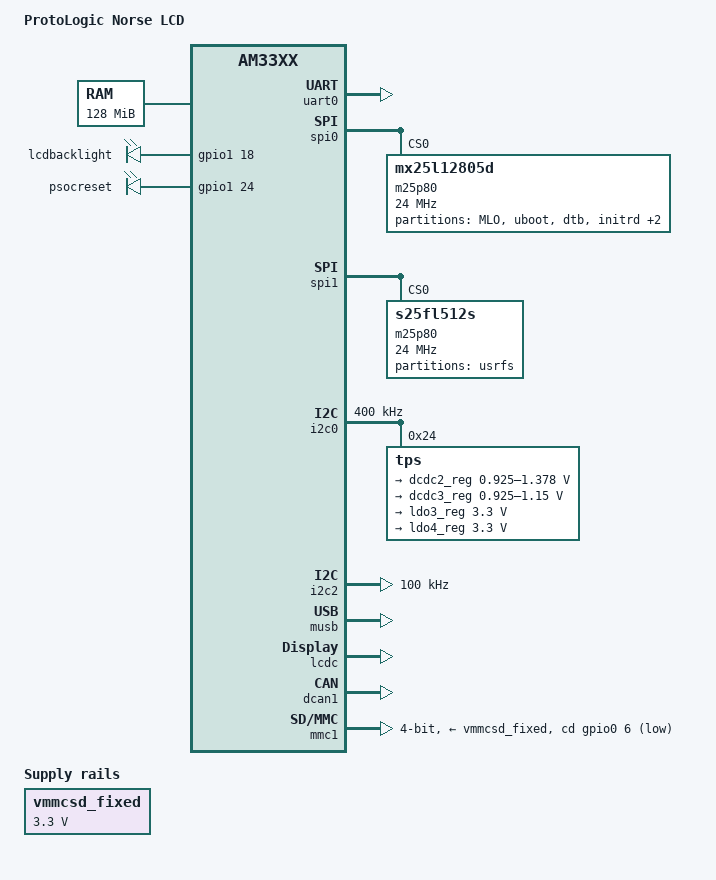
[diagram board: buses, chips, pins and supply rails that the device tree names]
/*
 * Bonelogic R1
 *
 *
 *     Big fAt reminders: 
 *			1. Use tables in AM335 datasheet, ~pg 30 to determine GPIO modes
 *			2. goofy hex numbers in pinctrl-single blocks are register offsets.  See: https://github.com/jadonk/bonescript/blob/64732854d4c296de8792d5d4c49639ae5f5ecede/src/bone.js
 *			3. Duplicate labels errors are triggered when the the node address (@XXXXX) matches an entry in the .dtsi but isn't otherwise identical.  Even the *case* of the hex characters to define the address matters here (!?)
 *			4. GPIO mapping hell?  RTFM!  (Documentation\devicetree\bindings\gpio\gpio-omap.txt)
 * 			5. Arghhhhh... "THEY" said linux GPIOs are different than pin GPIOs.  BUT they're not, at least not in SDK7.  The ti,hwmods deal in the dtsi fixes this.
 *			
 */

/dts-v1/;

#include "am33xx.dtsi"
#include <dt-bindings/pwm/pwm.h>

/ {
	model = "ProtoLogic Norse LCD";
	compatible = "ti,am335x-bonelogic", "ti,am33xx";


        cpus {
                cpu@0 {
                        cpu0-supply = <&dcdc2_reg>;
                };
        };

	memory {
		device_type = "memory";
		reg = <0x80000000 0x08000000>; /* 128 MB */
	};

	am33xx_pinmux: pinmux@44e10800 
	{
		pinctrl-names = "default";
		pinctrl-0 = <&clkout2_pin &clkout1_pin>;

		lcd_pins_default: lcd_pins_default {
			pinctrl-single,pins = <
				0x20 0x01	/* gpmc_ad8.lcd_data16, OUTPUT | MODE1 */
				0x24 0x01	/* gpmc_ad9.lcd_data17, OUTPUT | MODE1 */
				0x28 0x01	/* gpmc_ad10.lcd_data18, OUTPUT | MODE1 */
				0x2c 0x01	/* gpmc_ad11.lcd_data19, OUTPUT | MODE1 */
				0x30 0x01	/* gpmc_ad12.lcd_data20, OUTPUT | MODE1 */
				0x34 0x01	/* gpmc_ad13.lcd_data21, OUTPUT | MODE1 */
				0x38 0x01	/* gpmc_ad14.lcd_data22, OUTPUT | MODE1 */
				0x3c 0x01	/* gpmc_ad15.lcd_data23, OUTPUT | MODE1 */
				0xa0 0x00	/* lcd_data0.lcd_data0, OUTPUT | MODE0 */
				0xa4 0x00	/* lcd_data1.lcd_data1, OUTPUT | MODE0 */
				0xa8 0x00	/* lcd_data2.lcd_data2, OUTPUT | MODE0 */
				0xac 0x00	/* lcd_data3.lcd_data3, OUTPUT | MODE0 */
				0xb0 0x00	/* lcd_data4.lcd_data4, OUTPUT | MODE0 */
				0xb4 0x00	/* lcd_data5.lcd_data5, OUTPUT | MODE0 */
				0xb8 0x00	/* lcd_data6.lcd_data6, OUTPUT | MODE0 */
				0xbc 0x00	/* lcd_data7.lcd_data7, OUTPUT | MODE0 */
				0xc0 0x00	/* lcd_data8.lcd_data8, OUTPUT | MODE0 */
				0xc4 0x00	/* lcd_data9.lcd_data9, OUTPUT | MODE0 */
				0xc8 0x00	/* lcd_data10.lcd_data10, OUTPUT | MODE0 */
				0xcc 0x00	/* lcd_data11.lcd_data11, OUTPUT | MODE0 */
				0xd0 0x00	/* lcd_data12.lcd_data12, OUTPUT | MODE0 */
				0xd4 0x00	/* lcd_data13.lcd_data13, OUTPUT | MODE0 */
				0xd8 0x00	/* lcd_data14.lcd_data14, OUTPUT | MODE0 */
				0xdc 0x00	/* lcd_data15.lcd_data15, OUTPUT | MODE0 */
				0xe0 0x00	/* lcd_vsync.lcd_vsync, OUTPUT | MODE0 */
				0xe4 0x00	/* lcd_hsync.lcd_hsync, OUTPUT | MODE0 */
				0xe8 0x00	/* lcd_pclk.lcd_pclk, OUTPUT | MODE0 */
 				0xec 0x00	/* lcd_ac_bias_en.lcd_ac_bias_en, OUTPUT | MODE0 */
			>;
		};

		pwm_bl_pins: pinmux_pwm_bl_pins 
		{
			pinctrl-single,pins = <
				0x48 0x06 /* gpmc_a2.ehrpwm1a, OUTPUT | MODE6 */
			>;
		};

		gpio_pins: pinmux_gpio_pins 
		{
			pinctrl-single,pins = <
				0x48 0x07 /* gpmc_a2.ehrpwm1a (gpio1_18), LCD Backlight enable, OUTPUT | MODE7 */
				0x60 0x07 /* gpmc_a8.gpio1_24, PSoC reset, OUTPUT | MODE7 */
			>;
		};

		lcd_pins_sleep: lcd_pins_sleep {
			pinctrl-single,pins = <
				0x20 (PIN_INPUT_PULLDOWN | MUX_MODE7)	/* gpmc_ad8.lcd_data16 */
				0x24 (PIN_INPUT_PULLDOWN | MUX_MODE7)	/* gpmc_ad9.lcd_data17 */
				0x28 (PIN_INPUT_PULLDOWN | MUX_MODE7)	/* gpmc_ad10.lcd_data18 */
				0x2c (PIN_INPUT_PULLDOWN | MUX_MODE7)	/* gpmc_ad11.lcd_data19 */
				0x30 (PIN_INPUT_PULLDOWN | MUX_MODE7)	/* gpmc_ad12.lcd_data20 */
				0x34 (PIN_INPUT_PULLDOWN | MUX_MODE7)	/* gpmc_ad13.lcd_data21 */
				0x38 (PIN_INPUT_PULLDOWN | MUX_MODE7)	/* gpmc_ad14.lcd_data22 */
				0x3c (PIN_INPUT_PULLDOWN | MUX_MODE7)	/* gpmc_ad15.lcd_data23 */
				0xa0 (PULL_DISABLE | MUX_MODE7)		/* lcd_data0.lcd_data0 */
				0xa4 (PULL_DISABLE | MUX_MODE7)		/* lcd_data1.lcd_data1 */
				0xa8 (PULL_DISABLE | MUX_MODE7)		/* lcd_data2.lcd_data2 */
				0xac (PULL_DISABLE | MUX_MODE7)		/* lcd_data3.lcd_data3 */
				0xb0 (PULL_DISABLE | MUX_MODE7)		/* lcd_data4.lcd_data4 */
				0xb4 (PULL_DISABLE | MUX_MODE7)		/* lcd_data5.lcd_data5 */
				0xb8 (PULL_DISABLE | MUX_MODE7)		/* lcd_data6.lcd_data6 */
				0xbc (PULL_DISABLE | MUX_MODE7)		/* lcd_data7.lcd_data7 */
				0xc0 (PULL_DISABLE | MUX_MODE7)		/* lcd_data8.lcd_data8 */
				0xc4 (PULL_DISABLE | MUX_MODE7)		/* lcd_data9.lcd_data9 */
				0xc8 (PULL_DISABLE | MUX_MODE7)		/* lcd_data10.lcd_data10 */
				0xcc (PULL_DISABLE | MUX_MODE7)		/* lcd_data11.lcd_data11 */
				0xd0 (PULL_DISABLE | MUX_MODE7)		/* lcd_data12.lcd_data12 */
				0xd4 (PULL_DISABLE | MUX_MODE7)		/* lcd_data13.lcd_data13 */
				0xd8 (PULL_DISABLE | MUX_MODE7)		/* lcd_data14.lcd_data14 */
				0xdc (PULL_DISABLE | MUX_MODE7)		/* lcd_data15.lcd_data15 */
				0xe0 (PIN_INPUT_PULLDOWN | MUX_MODE7)	/* lcd_vsync.lcd_vsync, OUTPUT | MODE0 */
				0xe4 (PIN_INPUT_PULLDOWN | MUX_MODE7)	/* lcd_hsync.lcd_hsync */
				0xe8 (PIN_INPUT_PULLDOWN | MUX_MODE7)	/* lcd_pclk.lcd_pclk */
				0xec (PIN_INPUT_PULLDOWN | MUX_MODE7)	/* lcd_ac_bias_en.lcd_ac_bias_en */
			>;
		};


		i2c0_pins: pinmux_i2c0_pins {
			pinctrl-single,pins = <
				0x188 (PIN_INPUT_PULLUP | MUX_MODE0)	/* i2c0_sda.i2c0_sda */
				0x18c (PIN_INPUT_PULLUP | MUX_MODE0)	/* i2c0_scl.i2c0_scl */
			>;
		};

		i2c2_pins: pinmux_i2c2_pins {
			pinctrl-single,pins = <
				0x178 (PIN_INPUT_PULLUP | MUX_MODE3)	/* i2c2_sda */
				0x17c (PIN_INPUT_PULLUP | MUX_MODE3)	/* i2c2_scl */
			>;
		};

		uart0_pins: pinmux_uart0_pins {
			pinctrl-single,pins = <
				0x170 (PIN_INPUT_PULLUP | MUX_MODE0)	/* uart0_rxd.uart0_rxd */
				0x174 (PIN_OUTPUT_PULLDOWN | MUX_MODE0)		/* uart0_txd.uart0_txd */
			>;
		};

		dcan1_pins: pinmux_dcan1_pins {
			pinctrl-single,pins = <
				0x180 0x12  /* d_can1_tx, SLEWCTRL_FAST | INPUT_PULLUP | MODE2 */
				0x184 0x32  /* d_can1_rx, SLEWCTRL_FAST | RECV_ENABLE | INPUT_PULLUP | MODE2 */
			>;
		};

	        spi0_pins: pinmux_spi0_pins {
        	        pinctrl-single,pins = <
                	        0x150 (PIN_INPUT_PULLUP | MUX_MODE0)    /* spi0_clk.spi0_clk */
                        	0x154 (PIN_INPUT_PULLUP | MUX_MODE0)    /* spi0_d0.spi0_d0 */
	                        0x158 (PIN_INPUT_PULLUP | MUX_MODE0)    /* spi0_d1.spi0_d1 */
        	                0x15c (PIN_INPUT_PULLUP | MUX_MODE0)    /* spi0_cs0.spi0_cs0 */
	                >;
        	};
	        spi1_pins: pinmux_spi1_pins {
        	        pinctrl-single,pins = <
                	        0x190 (PIN_INPUT_PULLUP | MUX_MODE3)    /* gpio3_14-17 */
                        	0x194 (PIN_INPUT_PULLUP | MUX_MODE3)    
	                        0x198 (PIN_INPUT_PULLUP | MUX_MODE3)    
        	                0x19c (PIN_INPUT_PULLUP | MUX_MODE3)    
                	>;
	        };

		
		clkout1_pin: pinmux_clkout1_pin {
			pinctrl-single,pins = <
				0x1b0 (PIN_OUTPUT_PULLDOWN | MUX_MODE3)		/* xdma_event_intr0.clkout1 */
			>;
		};

		clkout2_pin: pinmux_clkout2_pin {
			pinctrl-single,pins = <
				0x1b4 (PIN_OUTPUT_PULLDOWN | MUX_MODE3)		/* xdma_event_intr1.clkout2 */
			>;
		};


                mmc1_pins_default: pinmux_mmc1_pins {
                        pinctrl-single,pins = <
                                0x0F0 (PIN_INPUT_PULLUP | MUX_MODE0)    /* mmc0_dat3.mmc0_dat3 */
                                0x0F4 (PIN_INPUT_PULLUP | MUX_MODE0)    /* mmc0_dat2.mmc0_dat2 */
                                0x0F8 (PIN_INPUT_PULLUP | MUX_MODE0)    /* mmc0_dat1.mmc0_dat1 */
                                0x0FC (PIN_INPUT_PULLUP | MUX_MODE0)    /* mmc0_dat0.mmc0_dat0 */
                                0x100 (PIN_INPUT_PULLUP | MUX_MODE0)    /* mmc0_clk.mmc0_clk */
                                0x104 (PIN_INPUT_PULLUP | MUX_MODE0)    /* mmc0_cmd.mmc0_cmd */
				0x160 (PIN_INPUT | MUX_MODE7)           /* spi0_cs1.gpio0_6 */
                        >;
                };
   };//pins

   /* "On Chip Peripherals".... in case you were wondering. */
   ocp 
   {
	uart0: serial@44e09000 {
		pinctrl-names = "default";
		pinctrl-0 = <&uart0_pins>;
		status = "okay";
	};

        spi0: spi@48030000 {
                pinctrl-names = "default";
                pinctrl-0 = <&spi0_pins>;
                status = "okay";
                m25p80@0 {
                        compatible = "mx25l12805d";
                        spi-max-frequency = <24000000>;
                        reg = <0x0>;
               		#address-cells = <1>;
               		#size-cells = <1>;
			wholechip@0
			{
                  		label = "enchilda";
                  		reg = <0 0x1000000>;
			};
			partition@0 {
                  		label = "MLO";
                  		reg = <0 0x20000>;
               		};
			partition@0x20000 {
                  		label = "uboot";
                  		reg = <0x20000 0x80000>;
               		};
			partition@0xA0000 {
                  		label = "dtb";
                  		reg = <0xA0000 0x10000>;
               		};
			partition@0xB0000 {
                  		label = "initrd";
                  		reg = <0xB0000 0x100000>;
               		};
			partition@0x1B0000 {
                  		label = "zimage";
                  		reg = <0x1B0000 0x300000>;
               		};
			partition@0x4B0000 {
                  		label = "rootfs";
                  		reg = <0x4B0000 0xB50000>;
               		};
                };
        };
        spi1: spi@481a0000 {
                pinctrl-names = "default";
                pinctrl-0 = <&spi1_pins>;
                status = "okay";
                m25p80@0 {
                        compatible = "s25fl512s";
                        spi-max-frequency = <24000000>;
                        reg = <0x0>;
               		#address-cells = <1>;
               		#size-cells = <1>;
			partition@0 {
                  		label = "usrfs";
                  		reg = <0 0x4000000>;
               		};
                };
        };

	i2c0: i2c@44e0b000 {
		pinctrl-names = "default";
		pinctrl-0 = <&i2c0_pins>;
		status = "okay";
		clock-frequency = <400000>;

		/* Set OPP50 (0.95V) for VDD core */
		sleep-sequence = /bits/ 8 <
			0x02 0x2d 0x25 0x1f /* Set VDD2 to 0.95V */
		>;
		/* Set OPP100 (1.10V) for VDD core */
		wake-sequence = /bits/ 8 <
			0x02 0x2d 0x25 0x2b /* Set VDD2 to 1.1V */
		>;
		tps: tps@24 {
			reg = <0x24>;
		};

	};

	i2c2: i2c@4819c000 {
		pinctrl-names = "default";
		pinctrl-0 = <&i2c2_pins>;
		status = "okay";
		clock-frequency = <100000>;
	};


	musb: usb@47400000 {
		status = "okay";
		control@44e10000 {
			status = "okay";
		};

		usb-phy@47401300 {
			status = "okay";
		};

		usb-phy@47401b00 {
			status = "okay";
		};

		usb@47401000 {
			status = "okay";
		};

		usb@47401800 {
			status = "okay";
			dr_mode = "host";
		};

		dma-controller@07402000  {
			status = "okay";
		};
	};


	lcdc: lcdc@0x4830e000 {
		pinctrl-names = "default", "sleep";
		pinctrl-0 = <&lcd_pins_default>;
		pinctrl-1 = <&lcd_pins_sleep>;
		status = "okay";
		display-timings 
		{
			240x400 {
				hactive         = <240>;
				vactive         = <400>;
				hback-porch     = <8>;
				hfront-porch    = <8>;
				hsync-len       = <8>;
				vback-porch     = <8>;
				vfront-porch    = <8>;
				vsync-len       = <8>;
				clock-frequency = <8000000>;
				hsync-active    = <0>;
				vsync-active    = <0>;
			};
		};
	};

	gpio
	{
        	compatible = "gpio-leds";
                pinctrl-names = "default";
                pinctrl-0 = <&gpio_pins>;
		lcd_backlight
		{
			label="lcdbacklight";
			gpios = <&gpio1 18 GPIO_ACTIVE_HIGH>;
			default-state = "off";
		};
		psoc_reset
		{
			label="psocreset";
			gpios = <&gpio1 24 GPIO_ACTIVE_HIGH>;
			default-state = "off";
		};
	};

/*
	backlight {
		compatible = "pwm-backlight";
		pinctrl-names = "default";
		pinctrl-0 = <&pwm_bl_pins>;
		pwms = <&ehrpwm1 0 500000 0>;	
		pwm-names = "LCD4";
		brightness-levels = <0 1 2 3 4 5 6 7 8 9 10 11 12 13 14 15 16 17 18 19 20 21 22 23 24 25 26 27 28 29 30 31 32 33 34 35 36 37 38 39 40 41 42 43 44 45 46 47 48 49 50 51 52 53 54 55 56 57 58 59 60 61 62 63 64 65 66 67 68 69 70 71 72 73 74 75 76 77 78 79 80 81 82 83 84 85 86 87 88 89 90 91 92 93 94 95 96 97 98 99 100>;
		default-brightness-level = <101>;
		status = "okay";
	};
*/

        vmmcsd_fixed: fixedregulator@0 {
                compatible = "regulator-fixed";
                regulator-name = "vmmcsd_fixed";
                regulator-min-microvolt = <3300000>;
                regulator-max-microvolt = <3300000>;
	};

   }; //OCP
};

&dcan1 {
	#address-cells = <1>;
	#size-cells = <0>;
	status = "okay";
	pinctrl-names = "default";
	pinctrl-0 = <&dcan1_pins>;
};

&wkup_m3 {
	ti,needs-vtt-toggle;
	ti,vtt-gpio-pin = <7>;
};


&gpio0 {
	ti,no-reset;
};


/* https://kernel.googlesource.com/pub/scm/linux/kernel/git/tmlind/linux-omap/+/718ae1cd66fb054cb32e2c6851bc71b99f2f6d2c/arch/arm/boot/dts/omap3-gta04.dts*/
/* http://www.signal11.us/oss/elce2012/beaglebone_mrf24j40_hacks.diff */
/*
&i2c2 {
	psoctouch_intr@5 { 
		compatible = "psoc,psoctouch_poll";
		reg = <0x13>;
        	interrupt-parent = <&gpio1>;
        	interrupts = <21 2>;
        	gpios = <&gpio1 21 GPIO_ACTIVE_LOW>;
		ti,poll-period = <10>; //mS
	};

};
*/

/*
&epwmss1 {
	status = "okay";
};

&ehrpwm1 {
	status = "okay";
};
*/

/include/ "tps65217.dtsi"

&tps {
        regulators {
                dcdc1_reg: regulator@0 {
                        regulator-always-on;
                };

                dcdc2_reg: regulator@1 {
                        /* VDD_MPU voltage limits 0.95V - 1.325V with +/-4% tol*/
                        regulator-name = "vdd_mpu";
                        regulator-min-microvolt = <925000>;
                        regulator-max-microvolt = <1378000>;
                        regulator-boot-on;
                        regulator-always-on;
                };

                dcdc3_reg: regulator@2 {
                        /* VDD_CORE voltage limits 0.95V - 1.1V with +/-4% tole*/
                        regulator-name = "vdd_core";
                        regulator-min-microvolt = <925000>;
                        regulator-max-microvolt = <1150000>;
                        regulator-boot-on;
                        regulator-always-on;
                };
                ldo1_reg: regulator@3 {
                        regulator-always-on;
                };

                ldo2_reg: regulator@4 {
                        regulator-always-on;
                };

                ldo3_reg: regulator@5 {
                        regulator-always-on;
		        regulator-min-microvolt = <3300000>;
		        regulator-max-microvolt = <3300000>;
                };

                ldo4_reg: regulator@6 {
                        regulator-always-on;
		        regulator-min-microvolt = <3300000>;
		        regulator-max-microvolt = <3300000>;
                };
        };//regulators
};//tps

&mmc1 {
        status = "okay";
        bus-width = <4>;
        pinctrl-names = "default";
        pinctrl-0 = <&mmc1_pins_default>;
        cd-gpios = <&gpio0 6 GPIO_ACTIVE_HIGH>;
        cd-inverted;
	vmmc-supply = <&vmmcsd_fixed>;
};
